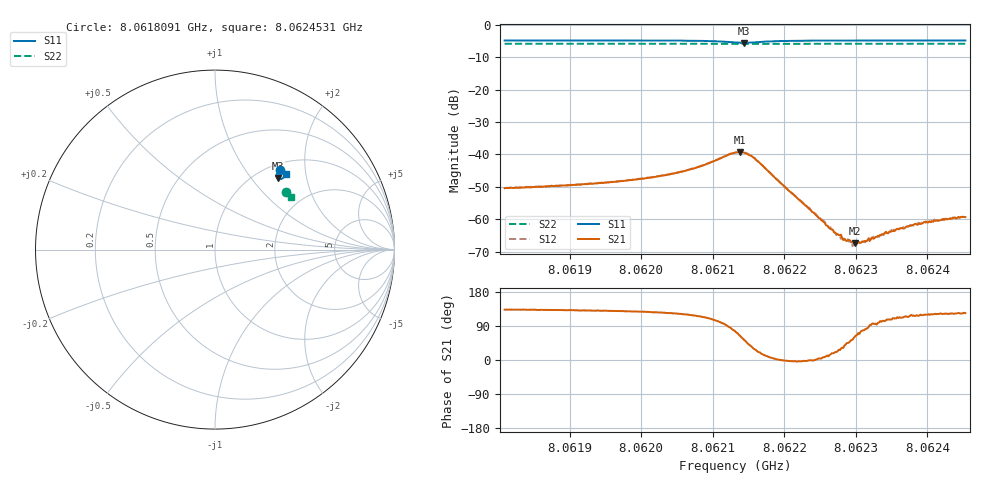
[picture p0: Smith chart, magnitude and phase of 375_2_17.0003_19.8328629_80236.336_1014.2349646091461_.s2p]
#  HZ  S  RI  R  50.00
! Rohde & Schwarz Vector Network Analyzer
! Rohde-Schwarz,ZNB20-2Port,1311601062101988,3.16
! Created: UTC 3/20/2024, 11:08:54 PM
! freq[Hz]  re:S11  im:S11  re:S21  im:S21  re:S12  im:S12  re:S22  im:S22
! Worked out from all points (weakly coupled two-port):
!   401 points, 8.0618091 GHz to 8.0624531 GHz, reference 50 ohm
!   highest |S21| = -39.26 dB at 8.0621375 GHz (marker M1); lowest = -67.4 dB at 8.0622986 GHz (marker M2)
!   lowest |S11| = -5.5 dB at 8.062144 GHz (marker M3), VSWR 3.25, Z = 61.8 + j68.4 ohm
!   |S11| at or under -10 dB: nowhere
!   |S22| runs from -5.9 to -5.8 dB; largest |S21 - S12| = 0.00097
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8.06180907e9  0.3648 0.4458  -0.00204 0.00221  -0.00192 0.00235  0.3977 0.3232
8.06191695e9  0.3722 0.4393  -0.00226 0.00262  -0.00211 0.00276  0.4018 0.3177
8.06197491e9  0.3767 0.435  -0.00245 0.00301  -0.00229 0.00321  0.4039 0.3148
8.06202483e9  0.3807 0.4295  -0.00268 0.00377  -0.00246 0.00393  0.4058 0.3121
8.06207474e9  0.385 0.4197  -0.00281 0.00546  -0.00254 0.00568  0.4076 0.3094
8.0621311e9  0.3662 0.3924  0.00257 0.0104  0.00323 0.0102  0.4083 0.3057
8.06213754e9  0.3574 0.3932  0.00465 0.00985  0.00525 0.0096  0.4081 0.3055
8.06214398e9  0.3492 0.3982  0.00645 0.00844  0.00693 0.00815  0.4081 0.3055
8.06215364e9  0.3426 0.4103  0.00769 0.0057  0.00795 0.00516  0.4084 0.3057
8.06216169e9  0.3432 0.4201  0.00737 0.00326  0.00756 0.00286  0.4087 0.3059
8.06223898e9  0.3727 0.4346  0.00129 -2.63e-05  0.00135 -9.71e-05  0.4128 0.3024
8.06226152e9  0.3764 0.4331  0.000755 0.00013  0.000745 0.000103  0.4139 0.3011
8.06227601e9  0.3784 0.4321  0.000512 0.00026  0.000516 0.000204  0.4144 0.3006
8.06228406e9  0.3794 0.4316  0.000394 0.000306  0.000414 0.00027  0.4145 0.3
8.06229372e9  0.3803 0.431  0.000267 0.000349  0.000305 0.000339  0.415 0.2995
8.06229855e9  0.3808 0.4306  0.000203 0.000375  0.000241 0.000387  0.4151 0.2992
8.06230177e9  0.3813 0.4304  0.000174 0.000393  0.000186 0.000372  0.4153 0.299
8.06230982e9  0.3821 0.4299  9.55e-05 0.000441  0.000103 0.000438  0.4155 0.2985
8.06234686e9  0.3856 0.4276  -0.000186 0.000617  -0.000173 0.000623  0.417 0.2968
8.0623855e9  0.3885 0.4253  -0.000386 0.000726  -0.000343 0.000771  0.4183 0.2947
8.06239838e9  0.3894 0.4245  -0.00046 0.000799  -0.000392 0.000808  0.4188 0.294
8.06245313e9  0.393 0.4214  -0.000598 0.000896  -0.00057 0.000932  0.4207 0.2912
